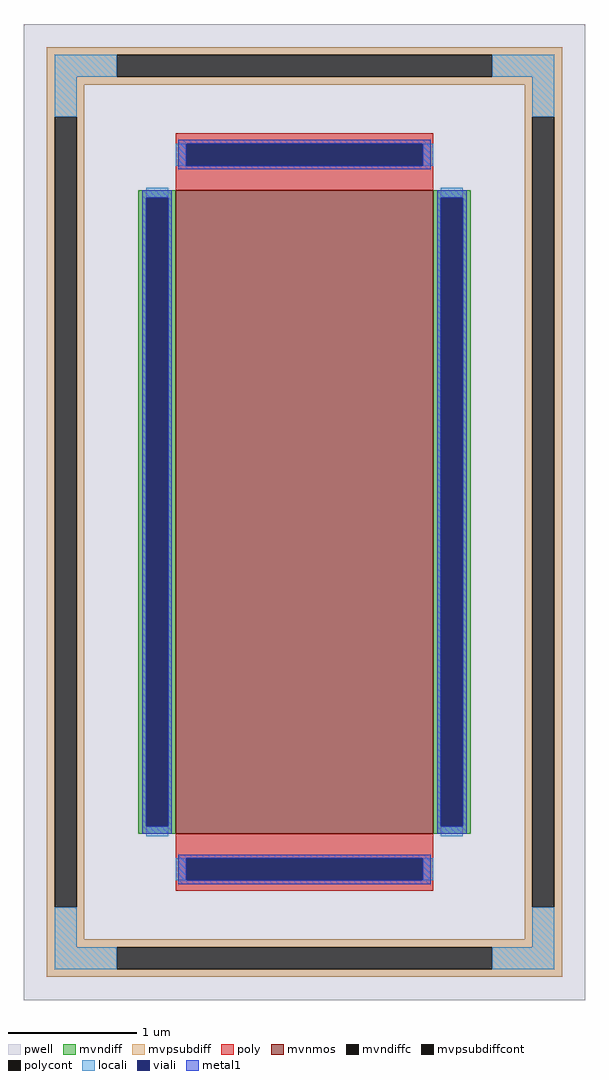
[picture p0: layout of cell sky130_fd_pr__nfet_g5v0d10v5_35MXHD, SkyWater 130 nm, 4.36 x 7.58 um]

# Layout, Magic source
magic
tech sky130A
<< pwell >>
rect -218 -379 218 379
<< mvnmos >>
rect -100 -250 100 250
<< mvndiff >>
rect -129 244 -100 250
rect -129 -244 -123 244
rect -106 -244 -100 244
rect -129 -250 -100 -244
rect 100 244 129 250
rect 100 -244 106 244
rect 123 -244 129 244
rect 100 -250 129 -244
<< mvndiffc >>
rect -123 -244 -106 244
rect 106 -244 123 244
<< mvpsubdiff >>
rect -200 355 200 361
rect -200 338 -146 355
rect 146 338 200 355
rect -200 332 200 338
rect -200 307 -171 332
rect -200 -307 -194 307
rect -177 -307 -171 307
rect 171 307 200 332
rect -200 -332 -171 -307
rect 171 -307 177 307
rect 194 -307 200 307
rect 171 -332 200 -307
rect -200 -338 200 -332
rect -200 -355 -146 -338
rect 146 -355 200 -338
rect -200 -361 200 -355
<< mvpsubdiffcont >>
rect -146 338 146 355
rect -194 -307 -177 307
rect 177 -307 194 307
rect -146 -355 146 -338
<< poly >>
rect -100 286 100 294
rect -100 269 -92 286
rect 92 269 100 286
rect -100 250 100 269
rect -100 -269 100 -250
rect -100 -286 -92 -269
rect 92 -286 100 -269
rect -100 -294 100 -286
<< polycont >>
rect -92 269 92 286
rect -92 -286 92 -269
<< locali >>
rect -194 338 -146 355
rect 146 338 194 355
rect -194 307 -177 338
rect 177 307 194 338
rect -100 269 -92 286
rect 92 269 100 286
rect -123 244 -106 252
rect -123 -252 -106 -244
rect 106 244 123 252
rect 106 -252 123 -244
rect -100 -286 -92 -269
rect 92 -286 100 -269
rect -194 -338 -177 -307
rect 177 -338 194 -307
rect -194 -355 -146 -338
rect 146 -355 194 -338
<< viali >>
rect -92 269 92 286
rect -123 -244 -106 244
rect 106 -244 123 244
rect -92 -286 92 -269
<< metal1 >>
rect -98 286 98 289
rect -98 269 -92 286
rect 92 269 98 286
rect -98 266 98 269
rect -126 244 -103 250
rect -126 -244 -123 244
rect -106 -244 -103 244
rect -126 -250 -103 -244
rect 103 244 126 250
rect 103 -244 106 244
rect 123 -244 126 244
rect 103 -250 126 -244
rect -98 -269 98 -266
rect -98 -286 -92 -269
rect 92 -286 98 -269
rect -98 -289 98 -286
<< properties >>
string FIXED_BBOX -181 -346 181 346
string gencell sky130_fd_pr__nfet_g5v0d10v5
string library sky130
string parameters w 5.0 l 2.0 m 1 nf 1 diffcov 100 polycov 100 guard 1 glc 1 grc 1 gtc 1 gbc 1 tbcov 100 rlcov 100 topc 1 botc 1 poverlap 0 doverlap 1 lmin 0.50 wmin 0.42 class mosfet compatible {sky130_fd_pr__nfet_01v8 sky130_fd_pr__nfet_01v8_lvt  sky130_fd_bs_flash__special_sonosfet_star  sky130_fd_pr__nfet_g5v0d10v5 sky130_fd_pr__nfet_05v0_nvt  sky130_fd_pr__nfet_03v3_nvt} full_metal 1 viasrc 100 viadrn 100 viagate 100 viagb 0 viagr 0 viagl 0 viagt 0
<< end >>
